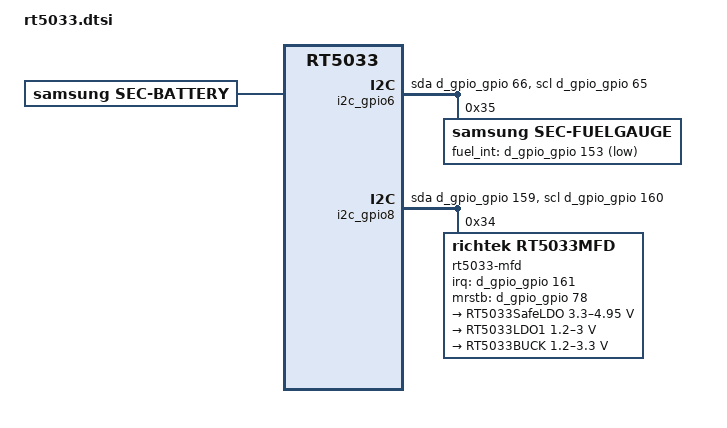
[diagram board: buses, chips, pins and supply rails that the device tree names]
/* example for RT5033
 * Copyright (C) 2013 Richtek Technology Corp.
 * Author: Patrick Chang <patrick_chang@richtek.com>
 */

/{
	sec-battery {
		status = "okay";
		compatible = "samsung,sec-battery";
		battery,vendor = "SDI SDI";
		battery,charger_name = "sec-charger";
		battery,fuelgauge_name = "sec-fuelgauge";
		battery,technology = <2>; /* POWER_SUPPLY_TECHNOLOGY_LION */
		battery,bat_irq_attr = <3>; /* IRQF_TRIGGER_RISING | IRQF_TRIGGER_FALLING */
		/* battery,ta_int = <&d_gpio_gpio 62 0x1>;
		battery,ta_irq_attr = <0x3>; */

		battery,chip_vendor = "QCOM";
		battery,temp_adc_type = <1>; /* SEC_BATTERY_ADC_TYPE_AP */

		battery,polling_time = <10 30 30 30 3600>;

		battery,adc_check_count = <5>;

		battery,cable_check_type = <5>; /* SEC_BATTERY_CABLE_CHECK_PSY */
		battery,cable_source_type = <3>; /* SEC_BATTERY_CABLE_SOURCE_EXTERNAL */
		battery,event_check;
		battery,event_waiting_time = <600>;
		battery,polling_type = <1>; /* SEC_BATTERY_MONITOR_ALARM */
		battery,monitor_initial_count = <3>;

		battery,battery_check_type = <0>; /* SEC_BATTERY_CHECK_NONE */
		battery,check_count = <0>;
		battery,check_adc_max = <1440>;
		battery,check_adc_min = <0>;

		battery,ovp_uvlo_check_type = <3>; /* SEC_BATTERY_OVP_UVLO_CHGPOLLING */

		battery,thermal_source = <2>; /* SEC_BATTERY_THERMAL_SOURCE_ADC */

		battery,temp_table_adc = <27281 27669 28178 28724 29342 30101 30912 31807 32823 33858 34950 36049 37054
			38025 38219 38448 38626 38795 38989 39229 39540 39687 39822 40523 41123 41619>;
		battery,temp_table_data = <700 650 600 550 500 450 400 350 300 250 200 150 100
			50 40 30 20 10 0 (-10) (-30) (-40) (-50) (-100) (-150) (-200)>;
		battery,temp_check_type = <0>; /* SEC_BATTERY_TEMP_CHECK_NONE */
		battery,temp_check_count = <1>;
		battery,temp_high_threshold_event = <600>;
		battery,temp_high_recovery_event = <450>;
		battery,temp_low_threshold_event = <(-50)>;
		battery,temp_low_recovery_event = <0>;
		battery,temp_high_threshold_normal = <600>;
		battery,temp_high_recovery_normal = <450>;
		battery,temp_low_threshold_normal = <(-50)>;
		battery,temp_low_recovery_normal = <0>;
		battery,temp_high_threshold_lpm = <600>;
		battery,temp_high_recovery_lpm = <450>;
		battery,temp_low_threshold_lpm = <(-50)>;
		battery,temp_low_recovery_lpm = <0>;
		battery,full_check_type = <7>; /* SEC_BATTERY_FULLCHARGED_CHGPSY */
		battery,full_check_type_2nd = <3>; /* SEC_BATTERY_FULLCHARGED_TIME */
		battery,full_check_count = <1>;
		battery,chg_gpio_full_check = <0>;
		battery,chg_polarity_full_check = <1>;

		/* SEC_BATTERY_FULL_CONDITION_SOC |
		   SEC_BATTERY_FULL_CONDITION_NOTIMEFULL |
		   SEC_BATTERY_FULL_CONDITION_VCELL */
		battery,full_condition_type = <13>;
		battery,full_condition_soc = <95>;
		battery,full_condition_vcell = <4300>;

		battery,recharge_check_count = <1>;
		battery,recharge_condition_type = <2>; /* SEC_BATTERY_RECHARGE_CONDITION_VCELL */
		battery,recharge_condition_soc = <98>;
		battery,recharge_condition_vcell = <4300>;

		battery,charging_total_time = <36000>;
		battery,recharging_total_time = <5400>;
		battery,charging_reset_time = <0>;

		charger{
			status = "disable";
			/* Charger */
			battery,charger_name = "sec-charger";
			#battery,vbus_ctrl_gpio = <&d_gpio_gpio 64 0x00>;
			battery,chg_gpio_en = <0>;
			battery,chg_polarity_en = <0>;
			battery,chg_gpio_status = <0>;
			battery,chg_polarity_status = <0>;
			battery,chg_float_voltage = <4350>;
			battery,ovp_uvlo_check_type = <3>; /* SEC_BATTERY_OVP_UVLO_CHGPOLLING */
			battery,full_check_type = <2>; /* SEC_BATTERY_FULLCHARGED_FG_CURRENT */

			battery,input_current_limit = <1800 460 460 1800 460 900 1000 460 460 1000 650 1800 1800 460 1300 300 700 1300 300 1000 1800 460 460>;
			battery,fast_charging_current = <2100 0 460 2100 460 1200 1000 460 0 1200 750 2100 2100 (-1) 1300 300 700 1300 300 1000 2100 0 0>;
			battery,full_check_current_1st = <300 0 300 300 300 300 300 300 0 300 300 300 300 0 300 300 300 300 300 300 300 0 0>;
			battery,full_check_current_2nd = <2400 0 2400 2400 2400 2400 2400 2400 0 2400 2400 2400 2400 0 2400 2400 2400 2400 2400 2400 2400 0 0>;
		};
	};

	i2c_gpio6: i2c_gpio@0 {
		compatible = "i2c-gpio";
		gpios = <&d_gpio_gpio 66 0 /* sda */
		&d_gpio_gpio 65 0 >;   /* scl */
		/*i2c-gpio,sda-open-drain;*/
		/*i2c-gpio,scl-open-drain;*/
		i2c-gpio,delay-us = <10>;    /* ~100 kHz */
		i2c-gpio,timeout-ms = <0>;
		#address-cells = <1>;
		#size-cells = <0>;
		sec-fuelgauge@35 {
			compatible = "samsung,sec-fuelgauge";
			fuelgauge,fuelgauge_name = "sec-fuelgauge";
			reg = <0x35>;
			interrupt-parent = <&d_gpio_gpio>;	
			fuelgauge,irqf = "IRQF_TRIGGER_FALLING + IRQF_ONESHOT + IRQF_NO_SUSPEND";
			fuelgauge,fuel_int = <&d_gpio_gpio 153 0x1>;
			fuelgauge,capacity_max = <1000>;
			fuelgauge,capacity_max_margin = <30>;
			fuelgauge,capacity_min = <0>;
			fuelgauge,capacity_calculation_type = <0x17>; /* not easy to understand ... */
			fuelgauge,fuel_alert_soc = <1>;

			battery_params {
				battery,id = <0>; /* -1 means auto, detected by F/G */
				battery0,battery_type = <4350>; /* 4200 4350 4400 */
				battery0,vg_comp_interpolation_order = <2 2>; /* necessary */
				battery0,vg_comp_idle_size = <1 4>; /* necessary */
				battery0,vg_comp_idle_data = <3300 (-200) 0x32 0x32 0x32 0x32
								3300 50 0x32 0x32 0x32 0x32
								3300 250 0x32 0x32 0x32 0x32
								3300 450 0x32 0x32 0x32 0x32>;
				battery0,vg_comp_normal_size = <1 4>; /* necessary */
				battery0,vg_comp_normal_data = <3300 (-200) 0x32 0x32 0x32 0x32
								3300 50 0x32 0x32 0x32 0x32
								3300 250 0x32 0x32 0x32 0x32
								3300 450 0x32 0x32 0x32 0x32>; 
				battery0,special_case = <0>;
				battery0,offset_interpolation_order = <2 2>; /* necessary */
				battery0,offset_charging_size = <0 0>; /* m x n, m: volt or soc, n : temp */
				battery0,offset_charging_data = <0 0 0>;
				battery0,offset_discharging_size = <0 0>;
				battery0,offset_discharging_data = <0 0 0>;
				battery0,offset_special_size = <0 0>;
				battery0,offset_special_data = <0 0 0>;	
				battery0,offset_low_power_size = <3 1>;
				battery0,offset_low_power_data = <0 300 (-12)
								100 300 0
								1000 300 0>;
				battery0,crate_idle_thres = <256>;
				};
		};
	};
        i2c_gpio8: i2c_gpio@1 {
		compatible = "i2c-gpio";
		gpios = <&d_gpio_gpio 159 0 /* sda */
			&d_gpio_gpio 160 0 >;  /* scl */
		/*i2c-gpio,sda-open-drain;*/
		/*i2c-gpio,scl-open-drain;*/
		i2c-gpio,delay-us = <3>;    /* ~100 kHz */
		i2c-gpio,timeout-ms = <100>;
		#address-cells = <1>;
		#size-cells = <0>;

		rt5033-mfd@34{
			compatible = "richtek,rt5033mfd";
			reg = <0x34>;
			interrupt-parent = <&d_gpio_gpio>;
			rt5033,irq-gpio = <&d_gpio_gpio 161 0x00>;
			rt5033,mrstb-gpio = <&d_gpio_gpio 78 0x00>; //?for what?
			
			rt5033_charger {
				compatible = "richtek,rt5033-charger";
				/* is_750kHz_switching = "yes"; optional, exist = enabled */
				/* is_fixed_switching = "yes"; optional, exist = enabled */
			};
			rt5033_fled {
				compatible = "richtek,rt5033-fled";
				enable = <1 1>;
				mid_track_alive = <0>;
				mid_auto_track_en = <0>;
				timeout_current_level = <50>;
				strobe_current = <500>;
				strobe_timeout = <544>;
				torch_current = <38>;
				lv_protection = <3300>;
				mid_level = <4400>;
			};

			rt5033_safe_ldo {
				compatible = "richtek,rt5033-safeldo";
				regulator-name = "RT5033SafeLDO"; /* constraints->name, change name by yourself*/
				regulator-min-microvolt = <3300000>;
				regulator-max-microvolt = <4950000>; /* if max == min then apply_uV = 1 */
				/* regulator-microvolt-offset = <0>; optional*/
				/* regulator-boot-on = "yes"; optional, exist = enabled */
				regulator-always-on = "yes";
				/* regulator-ramp-delay = <100>; optional*/
			};

			rt5033_ldo1 {
				compatible = "richtek,rt5033-ldo1";
				regulator-name = "RT5033LDO1"; /* change name by yourself */
				regulator-min-microvolt = <1200000>;
				regulator-max-microvolt = <3000000>; /* max == min then apply_uV = 1 */
				/* regulator-microvolt-offset = < >; optional*/
				/* regulator-boot-on = "yes"; optional, exist = enabled */
				/* regulator-always-on = "yes"; optional, exist = enabled */
				/* regulator-ramp-delay = <100>; optional*/

			};


			rt5033_buck1 {
				compatible = "richtek,rt5033-dcdc1";
				regulator-name = "RT5033BUCK"; /* change name by yourself */
				regulator-min-microvolt = <1200000>;
				regulator-max-microvolt = <3300000>; /* max == min then apply_uV = 1 */
				/* regulator-microvolt-offset = < >; optional*/
				/* regulator-boot-on = "yes"; optional, exist = enabled */
				/* regulator-always-on = "yes"; optional, exist = enabled */
				/* regulator-ramp-delay = <100>; optional*/
			};
		};
	};
};
